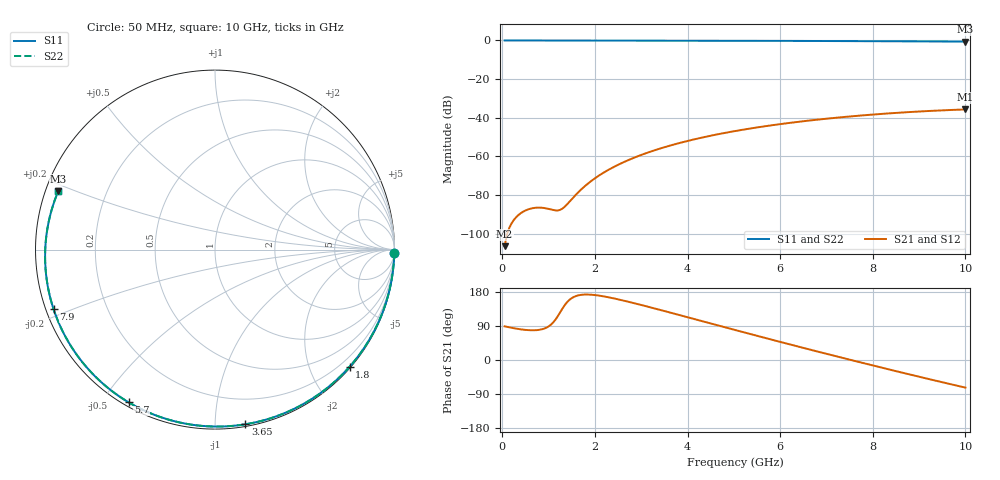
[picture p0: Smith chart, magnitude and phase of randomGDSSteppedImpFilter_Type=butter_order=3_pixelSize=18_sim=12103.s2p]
! freq	dB(S11)	phase(S11)	dB(S12)	phase(S12)
!  dB(S21)	phase(S21)	dB(S22)	phase(S22)
!S-par simulation data
#  GHz  S  DB  R 50
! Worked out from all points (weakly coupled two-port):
!   200 points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, 50 MHz to 10 GHz, reference 50 ohm
!   highest |S21| = -35.73 dB at 10 GHz (marker M1); lowest = -106.5 dB at 50 MHz (marker M2)
!   lowest |S11| = -0.6 dB at 10 GHz (marker M3), VSWR 28.43, Z = 1.82 + j8.98 ohm
!   |S11| at or under -10 dB: nowhere
!   |S22| runs from -0.6 to 0.0 dB; largest |S21 - S12| = 0
!   S11 on the Smith chart (normalised r, x): 50 MHz: open; 1.8 GHz: 0.02, -2.68; 3.65 GHz: 0.01, -1.19; 5.7 GHz: 0.02, -0.58; 7.9 GHz: 0.02, -0.18; 10 GHz: 0.04, +0.18
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0.05  -0.00 -1.1  -106.51 88.7  -106.51 88.7  -0.00 -1.1
0.45  -0.02 -10.4  -88.66 80.1  -88.66 80.1  -0.02 -10.4
0.8  -0.02 -18.5  -86.54 79.7  -86.54 79.7  -0.02 -18.5
1.55  -0.04 -35.4  -80.87 166.7  -80.87 166.7  -0.04 -35.4
1.6  -0.05 -36.5  -79.60 169.1  -79.60 169.1  -0.05 -36.5
1.75  -0.05 -39.9  -76.13 172.5  -76.13 172.5  -0.05 -39.9
1.8  -0.05 -41.0  -75.08 172.8  -75.08 172.8  -0.05 -41.0
2.1  -0.06 -47.6  -69.75 169.7  -69.75 169.7  -0.06 -47.6
2.45  -0.07 -55.1  -64.97 161.5  -64.97 161.5  -0.07 -55.1
2.9  -0.08 -64.7  -60.19 148.3  -60.19 148.3  -0.08 -64.7
3.4  -0.10 -75.0  -56.02 132.5  -56.02 132.5  -0.10 -75.0
3.65  -0.11 -80.1  -54.25 124.3  -54.25 124.3  -0.11 -80.1
4.35  -0.13 -94.0  -50.09 101.4  -50.09 101.4  -0.13 -94.0
5.05  -0.16 -107.4  -46.81 78.4  -46.81 78.4  -0.16 -107.4
5.7  -0.20 -119.5  -44.32 57.4  -44.32 57.4  -0.20 -119.5
6.7  -0.26 -137.8  -41.28 25.7  -41.28 25.7  -0.26 -137.8
7.3  -0.31 -148.7  -39.81 7.0  -39.81 7.0  -0.31 -148.7
7.9  -0.37 -159.7  -38.56 -11.3  -38.56 -11.3  -0.37 -159.7
8.35  -0.41 -168.0  -37.76 -24.9  -37.76 -24.9  -0.41 -168.0
8.8  -0.46 -176.5  -37.06 -38.3  -37.06 -38.3  -0.46 -176.5
9.2  -0.51 175.7  -36.53 -50.0  -36.53 -50.0  -0.51 175.7
10  -0.61 159.6  -35.73 -72.8  -35.73 -72.8  -0.61 159.6
